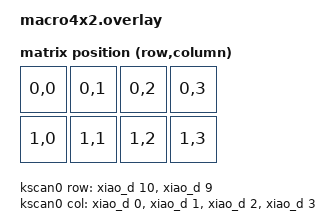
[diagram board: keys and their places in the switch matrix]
#include "macro4x2_layout.dtsi"
// 4x2.overlay
/ {
    kscan0: kscan0 {
        compatible = "zmk,kscan-gpio-matrix";
        diode-direction = "col2row";
        wakeup-source;

        col-gpios
            = <&xiao_d 0 GPIO_ACTIVE_HIGH>
            , <&xiao_d 1 GPIO_ACTIVE_HIGH>
            , <&xiao_d 2 GPIO_ACTIVE_HIGH>
            , <&xiao_d 3 GPIO_ACTIVE_HIGH>

            ;

        row-gpios
            = <&xiao_d 10 (GPIO_ACTIVE_HIGH | GPIO_PULL_DOWN)>
            , <&xiao_d 9 (GPIO_ACTIVE_HIGH | GPIO_PULL_DOWN)>
            ;
    };
};

#include <dt-bindings/zmk/matrix_transform.h> // Put this with the other includes at the top of your overlay

/ {
    default_transform: keymap_transform0 {
        compatible = "zmk,matrix-transform";
        columns = <4>; // Length of the "col-gpios" array
        rows = <2>; // Length of the "row-gpios" array
        map = <
        //   Key 1 | Key 2 | Key 3 | Key 4 
            RC(0,0) RC(0,1) RC(0,2) RC(0,3)
        //   Key 5 | Key 6 | Key 7 | Key 8 
            RC(1,0) RC(1,1) RC(1,2) RC(1,3)
        >;
    };
};


/ {
    chosen {
        zmk,kscan = &kscan0;
        zmk,physical-layout = &physical_layout0;

    //  zmk,battery = &vbatt;
        //zephyr,display = &oled;
                // Other chosen items
    };
   // vbatt: vbatt {
   //     compatible = "zmk,battery-nrf-vddh";
  //  };
    
};

&i2c1 {  
    status = "okay";
  
    ssd1306: ssd1306@3c {  // 'ssd1306' ist jetzt das Label
        compatible = "solomon,ssd1306fb";
        reg = <0x3c>;
        width = <128>;
        height = <64>;
        segment-offset = <0>;
        page-offset = <0>;
        display-offset = <0>;
        multiplex-ratio = <63>;
        segment-remap;
        com-invdir;

        layer-status {
        compatible = "zmk,widget-layer-status";
        display = <&ssd1306>;
    };

    battery-status {
        compatible = "zmk,widget-battery-status";
        display = <&ssd1306>;
    };

    };

};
